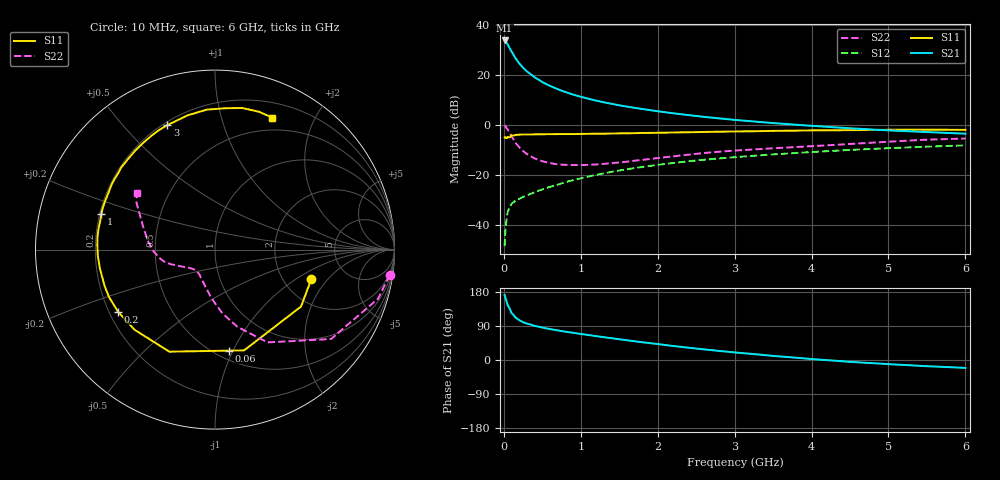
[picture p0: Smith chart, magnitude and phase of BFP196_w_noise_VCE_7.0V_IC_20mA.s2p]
! Infineon Technologies  Discrete & RF Semiconductors
! BFP196
! VCE =  7.0 V,  IC =  20 mA
! Common Emitter S-Parameters:  Jan 2017
# GHz  S  MA  R  50
!  f  S11  S21  S12  S22
! GHz  MAG  ANG  MAG  ANG  MAG  ANG  MAG  ANG
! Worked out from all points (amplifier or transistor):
!   77 points, 10 MHz to 6 GHz, reference 50 ohm
!   highest |S21| = 33.8 dB at 10 MHz (marker M1)
!   |S21| within 3 dB of that: start of sweep to 74.72 MHz
!   unconditionally stable (mu >= 1): 802.1 MHz to 2.372 GHz
!   at 130 MHz: K = 0.37, MSG = 29.3 dB, |S12| = -30.7 dB
!   at 2.2 GHz: K = 1.01, MAG = 9.2 dB, |S12| = -15.2 dB
!   at 6 GHz: K = 0.92, MSG = 2.3 dB, |S12| = -8.1 dB
!   lowest NFmin = 1.10 dB at 450 MHz
!   S11 on the Smith chart (normalised r, x): 10 MHz: 2.83, -1.36; 60 MHz: 0.58, -0.97; 200 MHz: 0.24, -0.28; 1 GHz: 0.21, +0.14; 3 GHz: 0.22, +0.67; 6 GHz: 0.36, +1.47
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0.01  0.5613 -17.1  48.85 171.8  0.0038 81.0  0.9827 -8.3
0.02  0.5748 -33.5  48.34 164.2  0.0076 81.1  0.9494 -16.7
0.05  0.5844 -73.9  40.82 144.5  0.0183 61.7  0.8164 -37.6
0.06  0.5684 -82.0  38.2 141.4  0.0199 58.9  0.7639 -41.1
0.1  0.623 -114.1  29.31 123.9  0.0266 51.2  0.5939 -60.5
0.15  0.6328 -135.1  21.73 112.4  0.0308 45.1  0.4471 -73.9
0.2  0.6417 -147.4  17.04 105.1  0.0333 45.2  0.3596 -83.1
0.25  0.6471 -156.0  13.93 99.8  0.0369 45.4  0.3019 -89.6
0.3  0.6475 -162.0  11.76 96.1  0.039 46.4  0.2624 -95.4
0.4  0.6498 -170.6  8.964 90.0  0.0455 49.7  0.2148 -104.1
0.5  0.6539 -177.0  7.207 85.5  0.0515 52.9  0.1888 -111.1
0.6  0.6559 177.8  6.046 81.6  0.0581 54.0  0.1738 -117.3
0.7  0.6583 173.7  5.193 78.2  0.0643 56.0  0.1635 -121.9
1  0.6638 162.8  3.667 68.7  0.0861 57.9  0.1581 -133.1
1.1  0.6672 159.5  3.343 65.9  0.0936 58.3  0.1601 -135.6
1.5  0.6807 147.5  2.475 54.8  0.1233 56.3  0.1788 -145.7
2.1  0.7038 131.0  1.797 39.6  0.1669 51.1  0.2273 -156.9
3  0.7429 110.9  1.266 19.9  0.2277 41.3  0.3085 -170.4
3.1  0.7454 109.0  1.229 18.3  0.2337 40.2  0.3149 -172.2
4.1  0.7817 91.9  0.942 1.1  0.2941 29.1  0.3851 170.3
5.1  0.803 77.8  0.768 -12.0  0.3495 17.5  0.4726 153.6
6  0.8021 66.5  0.671 -20.9  0.3921 7.2  0.5369 144.2
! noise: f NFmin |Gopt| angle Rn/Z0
0.45  1.1  0.34  159  0.05
0.9  1.3  0.47  179  0.06
1.9  2.2  0.68  -137  0.24
2.4  2.65  0.72  -122  0.59
